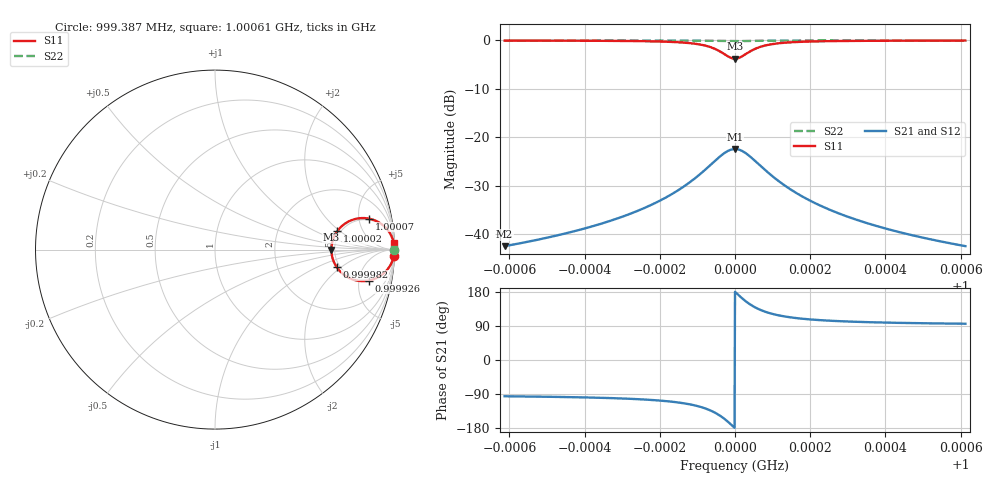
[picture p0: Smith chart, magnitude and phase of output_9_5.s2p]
! File generated for n1 = 9, n2 = 5
! b1 = 0.215443
! b2 = 0.010000
! Q0 = 10000.000000
! f0 = 1000000000.000000
! n = 1001
! rel_span = 10.000000
# Hz S RI R 50
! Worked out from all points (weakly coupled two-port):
!   1001 points, 999.387 MHz to 1.00061 GHz, reference 50 ohm
!   highest |S21| = -22.41 dB at 1 GHz (marker M1); lowest = -42.5 dB at 999.387 MHz (marker M2)
!   lowest |S11| = -3.8 dB at 1 GHz (marker M3), VSWR 4.69, Z = 234 + j0 ohm
!   |S11| at or under -10 dB: nowhere
!   |S22| runs from -0.1 to 0.0 dB; largest |S21 - S12| = 0
!   S11 on the Smith chart (normalised r, x): 999.387 MHz: 5, -57; 999.926 MHz: 4.69, -6.83; 999.982 MHz: 4.69, -1.71; 1.00002 GHz: 4.69, +1.82; 1.00007 GHz: 4.69, +6.94; 1.00061 GHz: 5, +57
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9.993873e8  0.9965 -0.0348  -0.00075 -0.0075  -0.00075 -0.0075  0.9998 -0.00162
9.994927e8  0.9949 -0.0418  -0.00109 -0.00902  -0.00109 -0.00902  0.9998 -0.00194
9.995919e8  0.9923 -0.0516  -0.00167 -0.0111  -0.00167 -0.0111  0.9996 -0.0024
9.997047e8  0.9855 -0.0699  -0.00313 -0.0151  -0.00313 -0.0151  0.9993 -0.00325
9.997966e8  0.9708 -0.0971  -0.0063 -0.0209  -0.0063 -0.0209  0.9986 -0.00451
9.99875e8  0.9319 -0.139  -0.0147 -0.0299  -0.0147 -0.0299  0.9968 -0.00645
9.999032e8  0.8994 -0.1589  -0.0217 -0.0342  -0.0217 -0.0342  0.9953 -0.00738
9.999265e8  0.8559 -0.1729  -0.031 -0.0373  -0.031 -0.0373  0.9933 -0.00803
9.999571e8  0.764 -0.1652  -0.0508 -0.0356  -0.0508 -0.0356  0.989 -0.00767
9.999694e8  0.7187 -0.1406  -0.0606 -0.0303  -0.0606 -0.0303  0.9869 -0.00653
9.999816e8  0.6774 -0.0968  -0.0695 -0.0208  -0.0695 -0.0208  0.985 -0.00449
1e9  0.6484 0  -0.0758 0  -0.0758 0  0.9837 0
1.00002e9  0.681 0.1021  -0.0687 0.022  -0.0687 0.022  0.9852 0.00474
1.000043e9  0.764 0.1652  -0.0508 0.0356  -0.0508 0.0356  0.989 0.00767
1.000075e9  0.8587 0.1724  -0.0304 0.0371  -0.0304 0.0371  0.9934 0.008
1.000098e9  0.9012 0.158  -0.0213 0.034  -0.0213 0.034  0.9954 0.00734
1.000126e9  0.9329 0.1381  -0.0144 0.0298  -0.0144 0.0298  0.9969 0.00641
1.000205e9  0.9711 0.0966  -0.00623 0.0208  -0.00623 0.0208  0.9987 0.00448
1.000297e9  0.9856 0.0697  -0.0031 0.015  -0.0031 0.015  0.9993 0.00323
1.000409e9  0.9923 0.0515  -0.00166 0.0111  -0.00166 0.0111  0.9996 0.00239
1.000509e9  0.995 0.0418  -0.00108 0.009  -0.00108 0.009  0.9998 0.00194
1.000613e9  0.9965 0.0348  -0.00075 0.0075  -0.00075 0.0075  0.9998 0.00162
